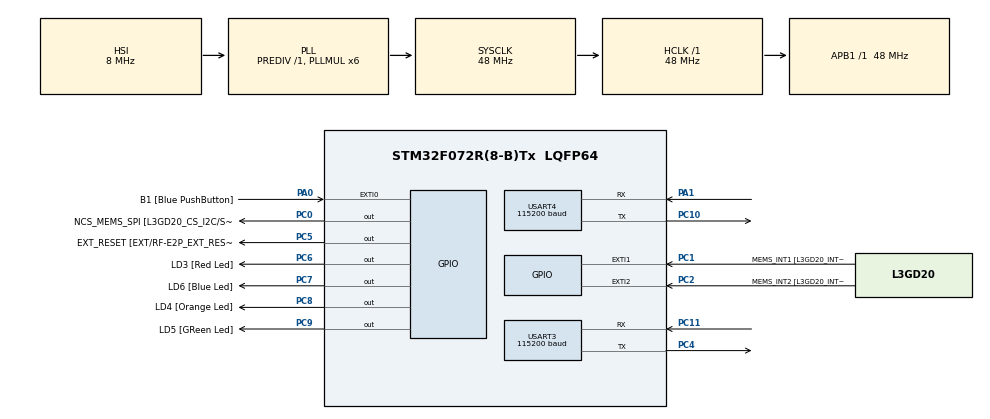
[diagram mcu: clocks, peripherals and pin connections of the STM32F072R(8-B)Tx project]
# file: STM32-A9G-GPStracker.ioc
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Dma.Request0=USART3_RX
Dma.USART3_RX.0.Direction=DMA_PERIPH_TO_MEMORY
Dma.USART3_RX.0.Instance=DMA1_Channel3
Dma.USART3_RX.0.MemDataAlignment=DMA_MDATAALIGN_BYTE
Dma.USART3_RX.0.MemInc=DMA_MINC_ENABLE
Dma.USART3_RX.0.Mode=DMA_CIRCULAR
Dma.USART3_RX.0.PeriphDataAlignment=DMA_PDATAALIGN_BYTE
Dma.USART3_RX.0.PeriphInc=DMA_PINC_DISABLE
Dma.USART3_RX.0.Priority=DMA_PRIORITY_HIGH
Mcu.Family=STM32F0
Mcu.Name=STM32F072R(8-B)Tx
Mcu.Package=LQFP64
NVIC.DMA1_Channel2_3_IRQn=true\:0\:0\:false\:false\:true\:false\:true\:true
NVIC.USART3_4_IRQn=true\:0\:0\:false\:false\:true\:true\:true\:true
PA0.GPIO_Label=B1 [Blue PushButton]
PA0.GPIO_ModeDefaultEXTI=GPIO_MODE_EVT_RISING
PA0.Signal=GPXTI0
PA1.Mode=Asynchronous
PA1.Signal=USART4_RX
PA11.GPIO_Label=USBF4_DM
PA11.Signal=USB_DM
PA12.GPIO_Label=USBF4_DP
PA12.Signal=USB_DP
PA13.GPIO_Label=SWDIO
PA13.Signal=SYS_SWDIO
PA14.GPIO_Label=SWCLK
PA14.Signal=SYS_SWCLK
PA2.Signal=TSC_G1_IO3
PA3.Signal=TSC_G1_IO4
PA6.Signal=TSC_G2_IO3
PA7.Signal=TSC_G2_IO4
PB0.Signal=TSC_G3_IO2
PB1.Signal=TSC_G3_IO3
PB10.GPIO_Label=I2C2_SCL[EXT/RF-E2P_SCL]
PB10.Signal=I2C2_SCL
PB11.GPIO_Label=I2C2_SDA[EXT/RF-E2P_SDA]
PB11.Signal=I2C2_SDA
PB13.GPIO_Label=SPI2_SCK [L3GD20_SCL/SPC]
PB13.Signal=SPI2_SCK
PB14.GPIO_Label=SPI2_MISO [L3GD20_SDO]
PB14.Signal=SPI2_MISO
PB15.GPIO_Label=SPI2_MOSI [L3GD20_SDA/SDI]
PB15.Signal=SPI2_MOSI
PC0.GPIO_Label=NCS_MEMS_SPI [L3GD20_CS_I2C/SPI]
PC0.Signal=GPIO_Output
PC1.GPIO_Label=MEMS_INT1 [L3GD20_INT1]
PC1.GPIO_ModeDefaultEXTI=GPIO_MODE_EVT_RISING
PC1.Signal=GPXTI1
PC10.Mode=Asynchronous
PC10.Signal=USART4_TX
PC11.Mode=Asynchronous
PC11.Signal=USART3_RX
PC2.GPIO_Label=MEMS_INT2 [L3GD20_INT2]
PC2.GPIO_ModeDefaultEXTI=GPIO_MODE_EVT_RISING
PC2.Signal=GPXTI2
PC4.Mode=Asynchronous
PC4.Signal=USART3_TX
PC5.GPIO_Label=EXT_RESET [EXT/RF-E2P_EXT_RESET]
PC5.Signal=GPIO_Output
PC6.GPIO_Label=LD3 [Red Led]
PC6.Signal=GPIO_Output
PC7.GPIO_Label=LD6 [Blue Led]
PC7.Signal=GPIO_Output
PC8.GPIO_Label=LD4 [Orange Led]
PC8.Signal=GPIO_Output
PC9.GPIO_Label=LD5 [GReen Led]
PC9.Signal=GPIO_Output
ProjectManager.HeapSize=0x200
ProjectManager.StackSize=0x400
ProjectManager.TargetToolchain=STM32CubeIDE
RCC.AHBFreq_Value=48000000
RCC.APB1Freq_Value=48000000
RCC.APB1TimFreq_Value=48000000
RCC.HCLKFreq_Value=48000000
RCC.PLLMUL=RCC_PLL_MUL6
RCC.SYSCLKFreq_VALUE=48000000
RCC.SYSCLKSource=RCC_SYSCLKSOURCE_PLLCLK
USART3.BaudRate=115200
USART3.VirtualMode-Asynchronous=VM_ASYNC
USART4.BaudRate=115200
USART4.VirtualMode-Asynchronous=VM_ASYNC
board=STM32F072B-DISCO

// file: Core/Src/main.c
/* USER CODE BEGIN Header */
/**
  ******************************************************************************
  * @file           : main.c
  * @brief          : Main program body
  ******************************************************************************
  * @attention
  *
  * Copyright (c) 2023 STMicroelectronics.
  * All rights reserved.
  *
  * This software is licensed under terms that can be found in the LICENSE file
  * in the root directory of this software component.
  * If no LICENSE file comes with this software, it is provided AS-IS.
  *
  ******************************************************************************
  */
/* USER CODE END Header */
#include "main.h"

/* USER CODE BEGIN Includes */
#include <string.h>
#include <stdio.h>
#include <stdarg.h>
#include <stdlib.h>
/* USER CODE END Includes */

/* USER CODE BEGIN PD */
#define UART3_BUFFER_SIZE 256
#define UART4_BUFFER_SIZE 256
/* USER CODE END PD */

UART_HandleTypeDef huart3;
UART_HandleTypeDef huart4;
DMA_HandleTypeDef hdma_usart3_rx;

/* USER CODE BEGIN PV */
uint8_t rx_buffer[UART3_BUFFER_SIZE] = {0};
uint8_t rx_data						 = 0;
uint8_t State_machine 				 = 0;
char mqtt_buffer[UART3_BUFFER_SIZE]  = {0};
char location[UART3_BUFFER_SIZE]     = "No Data";
int x = 0;
uint16_t oldPos,newPos = 0;
/* USER CODE END PV */

void SystemClock_Config(void);
static void MX_GPIO_Init(void);
static void MX_DMA_Init(void);
static void MX_USART3_UART_Init(void);
static void MX_USART4_UART_Init(void);
/* USER CODE BEGIN PFP */
int SendCommand(char *, char *, uint16_t );
void printk(const char *, ...);
void clearRxBuffer(void);
void clearMqttBuffer(void);
void copyCleanedString(char* destination, const char* input);
/* USER CODE END PFP */

/* USER CODE BEGIN 0 */

void HAL_UART_RxCpltCallback(UART_HandleTypeDef *huart)
{

	memcpy(mqtt_buffer, rx_buffer, sizeof(rx_buffer));
	printk("we got %s \n\r",rx_buffer);
	clearRxBuffer();
	HAL_UART_Receive_DMA (&huart3, rx_buffer ,UART3_BUFFER_SIZE);  // Receive 4 Bytes of data

}

void HAL_UARTEx_RxEventCallback(UART_HandleTypeDef * huart, uint16_t size){

	if(huart->Instance == USART3){
		memcpy(mqtt_buffer, rx_buffer, sizeof(rx_buffer));
		printk("we got %s \n\r",rx_buffer);
		clearRxBuffer();
	    HAL_UARTEx_ReceiveToIdle_DMA(&huart3, rx_buffer, UART3_BUFFER_SIZE);
	    __HAL_DMA_DISABLE_IT(&hdma_usart3_rx,DMA_IT_HT);
	}

		if (strstr((char *)mqtt_buffer, "READY\r\n")){
		 State_machine = 1;
		}
		if (strstr((char *)mqtt_buffer, "+LOCATION:")){
		  memset(location, 0, sizeof(location));
		  copyCleanedString(location,(const char *)mqtt_buffer);
		}

}

/* USER CODE END 0 */

int main(void)
{

  /* MCU Configuration--------------------------------------------------------*/

  /* Reset of all peripherals, Initializes the Flash interface and the Systick. */
  HAL_Init();

  /* Configure the system clock */
  SystemClock_Config();

  /* Initialize all configured peripherals */
  MX_GPIO_Init();
  MX_DMA_Init();
  MX_USART3_UART_Init();
  MX_USART4_UART_Init();
  /* USER CODE BEGIN 2 */
  // HAL_UART_Receive_DMA (&huart3, rx_buffer ,UART3_BUFFER_SIZE);  // Receive 4 Bytes of data

   HAL_UARTEx_ReceiveToIdle_DMA(&huart3, rx_buffer, UART3_BUFFER_SIZE);
  __HAL_DMA_DISABLE_IT(&hdma_usart3_rx,DMA_IT_HT);

  /* USER CODE END 2 */

  /* Infinite loop */
  while (1)
  {
	  SendCommand("AT\r\n","OK\r\n",3000);
  }
}

void SystemClock_Config(void)
{
  RCC_OscInitTypeDef RCC_OscInitStruct = {0};
  RCC_ClkInitTypeDef RCC_ClkInitStruct = {0};

  /** Initializes the RCC Oscillators according to the specified parameters
  * in the RCC_OscInitTypeDef structure.
  */
  RCC_OscInitStruct.OscillatorType = RCC_OSCILLATORTYPE_HSI;
  RCC_OscInitStruct.HSIState = RCC_HSI_ON;
  RCC_OscInitStruct.HSICalibrationValue = RCC_HSICALIBRATION_DEFAULT;
  RCC_OscInitStruct.PLL.PLLState = RCC_PLL_ON;
  RCC_OscInitStruct.PLL.PLLSource = RCC_PLLSOURCE_HSI;
  RCC_OscInitStruct.PLL.PLLMUL = RCC_PLL_MUL6;
  RCC_OscInitStruct.PLL.PREDIV = RCC_PREDIV_DIV1;
  if (HAL_RCC_OscConfig(&RCC_OscInitStruct) != HAL_OK)
  {
    Error_Handler();
  }

  /** Initializes the CPU, AHB and APB buses clocks
  */
  RCC_ClkInitStruct.ClockType = RCC_CLOCKTYPE_HCLK|RCC_CLOCKTYPE_SYSCLK
                              |RCC_CLOCKTYPE_PCLK1;
  RCC_ClkInitStruct.SYSCLKSource = RCC_SYSCLKSOURCE_PLLCLK;
  RCC_ClkInitStruct.AHBCLKDivider = RCC_SYSCLK_DIV1;
  RCC_ClkInitStruct.APB1CLKDivider = RCC_HCLK_DIV1;

  if (HAL_RCC_ClockConfig(&RCC_ClkInitStruct, FLASH_LATENCY_1) != HAL_OK)
  {
    Error_Handler();
  }
}

static void MX_USART3_UART_Init(void)
{

  huart3.Instance = USART3;
  huart3.Init.BaudRate = 115200;
  huart3.Init.WordLength = UART_WORDLENGTH_8B;
  huart3.Init.StopBits = UART_STOPBITS_1;
  huart3.Init.Parity = UART_PARITY_NONE;
  huart3.Init.Mode = UART_MODE_TX_RX;
  huart3.Init.HwFlowCtl = UART_HWCONTROL_NONE;
  huart3.Init.OverSampling = UART_OVERSAMPLING_16;
  huart3.Init.OneBitSampling = UART_ONE_BIT_SAMPLE_DISABLE;
  huart3.AdvancedInit.AdvFeatureInit = UART_ADVFEATURE_NO_INIT;
  if (HAL_UART_Init(&huart3) != HAL_OK)
  {
    Error_Handler();
  }

}

static void MX_USART4_UART_Init(void)
{

  huart4.Instance = USART4;
  huart4.Init.BaudRate = 115200;
  huart4.Init.WordLength = UART_WORDLENGTH_8B;
  huart4.Init.StopBits = UART_STOPBITS_1;
  huart4.Init.Parity = UART_PARITY_NONE;
  huart4.Init.Mode = UART_MODE_TX_RX;
  huart4.Init.HwFlowCtl = UART_HWCONTROL_NONE;
  huart4.Init.OverSampling = UART_OVERSAMPLING_16;
  huart4.Init.OneBitSampling = UART_ONE_BIT_SAMPLE_DISABLE;
  huart4.AdvancedInit.AdvFeatureInit = UART_ADVFEATURE_NO_INIT;
  if (HAL_UART_Init(&huart4) != HAL_OK)
  {
    Error_Handler();
  }

}

static void MX_DMA_Init(void)
{

  /* DMA controller clock enable */
  __HAL_RCC_DMA1_CLK_ENABLE();

  /* DMA interrupt init */
  /* DMA1_Channel2_3_IRQn interrupt configuration */
  HAL_NVIC_SetPriority(DMA1_Channel2_3_IRQn, 0, 0);
  HAL_NVIC_EnableIRQ(DMA1_Channel2_3_IRQn);

}

static void MX_GPIO_Init(void)
{
  GPIO_InitTypeDef GPIO_InitStruct = {0};

  /* GPIO Ports Clock Enable */
  __HAL_RCC_GPIOC_CLK_ENABLE();
  __HAL_RCC_GPIOA_CLK_ENABLE();
  __HAL_RCC_GPIOB_CLK_ENABLE();

  /*Configure GPIO pin Output Level */
  HAL_GPIO_WritePin(GPIOC, NCS_MEMS_SPI_Pin|EXT_RESET_Pin|LD3_Pin|LD6_Pin
                          |LD4_Pin|LD5_Pin, GPIO_PIN_RESET);

  /*Configure GPIO pins : NCS_MEMS_SPI_Pin EXT_RESET_Pin LD3_Pin LD6_Pin
                           LD4_Pin LD5_Pin */
  GPIO_InitStruct.Pin = NCS_MEMS_SPI_Pin|EXT_RESET_Pin|LD3_Pin|LD6_Pin
                          |LD4_Pin|LD5_Pin;
  GPIO_InitStruct.Mode = GPIO_MODE_OUTPUT_PP;
  GPIO_InitStruct.Pull = GPIO_NOPULL;
  GPIO_InitStruct.Speed = GPIO_SPEED_FREQ_LOW;
  HAL_GPIO_Init(GPIOC, &GPIO_InitStruct);

  /*Configure GPIO pins : MEMS_INT1_Pin MEMS_INT2_Pin */
  GPIO_InitStruct.Pin = MEMS_INT1_Pin|MEMS_INT2_Pin;
  GPIO_InitStruct.Mode = GPIO_MODE_EVT_RISING;
  GPIO_InitStruct.Pull = GPIO_NOPULL;
  HAL_GPIO_Init(GPIOC, &GPIO_InitStruct);

  /*Configure GPIO pin : B1_Pin */
  GPIO_InitStruct.Pin = B1_Pin;
  GPIO_InitStruct.Mode = GPIO_MODE_EVT_RISING;
  GPIO_InitStruct.Pull = GPIO_NOPULL;
  HAL_GPIO_Init(B1_GPIO_Port, &GPIO_InitStruct);

  /*Configure GPIO pins : PA2 PA3 PA6 PA7 */
  GPIO_InitStruct.Pin = GPIO_PIN_2|GPIO_PIN_3|GPIO_PIN_6|GPIO_PIN_7;
  GPIO_InitStruct.Mode = GPIO_MODE_AF_PP;
  GPIO_InitStruct.Pull = GPIO_NOPULL;
  GPIO_InitStruct.Speed = GPIO_SPEED_FREQ_LOW;
  GPIO_InitStruct.Alternate = GPIO_AF3_TSC;
  HAL_GPIO_Init(GPIOA, &GPIO_InitStruct);

  /*Configure GPIO pins : PB0 PB1 */
  GPIO_InitStruct.Pin = GPIO_PIN_0|GPIO_PIN_1;
  GPIO_InitStruct.Mode = GPIO_MODE_AF_PP;
  GPIO_InitStruct.Pull = GPIO_NOPULL;
  GPIO_InitStruct.Speed = GPIO_SPEED_FREQ_LOW;
  GPIO_InitStruct.Alternate = GPIO_AF3_TSC;
  HAL_GPIO_Init(GPIOB, &GPIO_InitStruct);

  /*Configure GPIO pins : I2C2_SCL_Pin I2C2_SDA_Pin */
  GPIO_InitStruct.Pin = I2C2_SCL_Pin|I2C2_SDA_Pin;
  GPIO_InitStruct.Mode = GPIO_MODE_AF_OD;
  GPIO_InitStruct.Pull = GPIO_NOPULL;
  GPIO_InitStruct.Speed = GPIO_SPEED_FREQ_HIGH;
  GPIO_InitStruct.Alternate = GPIO_AF1_I2C2;
  HAL_GPIO_Init(GPIOB, &GPIO_InitStruct);

  /*Configure GPIO pins : SPI2_SCK_Pin SPI2_MISO_Pin SPI2_MOSI_Pin */
  GPIO_InitStruct.Pin = SPI2_SCK_Pin|SPI2_MISO_Pin|SPI2_MOSI_Pin;
  GPIO_InitStruct.Mode = GPIO_MODE_AF_PP;
  GPIO_InitStruct.Pull = GPIO_NOPULL;
  GPIO_InitStruct.Speed = GPIO_SPEED_FREQ_HIGH;
  GPIO_InitStruct.Alternate = GPIO_AF0_SPI2;
  HAL_GPIO_Init(GPIOB, &GPIO_InitStruct);

}

/* USER CODE BEGIN 4 */
void clearRxBuffer(void)
{
    memset(rx_buffer, 0, sizeof(rx_buffer));
}

void clearMqttBuffer(void)
{
    memset(mqtt_buffer, 0, sizeof(mqtt_buffer));
}

void printk(const char *fmt, ...)
{
	static char buffer[256];
	va_list args;
	va_start(args, fmt);
	vsnprintf(buffer, sizeof(buffer), fmt, args);
	va_end(args);

	int len = strlen(buffer);
	HAL_UART_Transmit(&huart4, (uint8_t*) buffer, len, -1);
}

int SendCommand(char *command, char *reply, uint16_t delay)
{
    HAL_UART_Transmit_IT(&huart3, (unsigned char *)command,
                         (uint16_t)strlen(command));

    HAL_Delay(delay);

  /*  if (strstr(mqtt_buffer, reply) != NULL)
    {
        clearRxBuffer();
        return 0;
    }
    clearRxBuffer();*/
    return 1;
}

void copyCleanedString(char* destination, const char* input) {
    size_t cleaned_index = 0;
    for (size_t i = 0; input[i] != '\0'; i++) {
        char c = input[i];

        // Check if the character is a visible ASCII character
        if (c >= 32 && c <= 126) {
            destination[cleaned_index++] = c;
        }
    }

    destination[cleaned_index] = '\0';
}

/* USER CODE END 4 */

void Error_Handler(void)
{
  __disable_irq();
  while (1)
  {
  }
}
